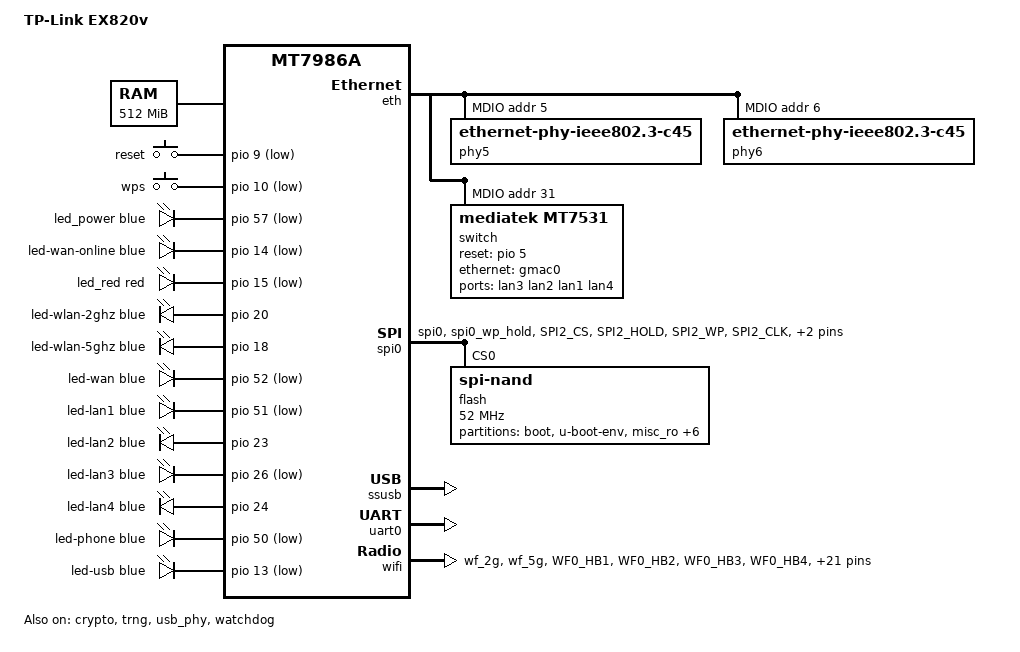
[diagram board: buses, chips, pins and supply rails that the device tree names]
// SPDX-License-Identifier: GPL-2.0-only OR MIT

/dts-v1/;

#include <dt-bindings/gpio/gpio.h>
#include <dt-bindings/input/input.h>
#include <dt-bindings/leds/common.h>
#include <dt-bindings/pinctrl/mt65xx.h>

#include "mt7986a.dtsi"

/ {
	compatible = "tplink,ex820v", "mediatek,mt7986a";
	model = "TP-Link EX820v";

	aliases {
		serial0 = &uart0;
		led-boot = &led_power;
		led-failsafe = &led_red;
		led-running = &led_power;
		led-upgrade = &led_red;
	};

	chosen {
		stdout-path = "serial0:115200n8";
	};

	memory@40000000 {
		reg = <0 0x40000000 0 0x20000000>;
		device_type = "memory";
	};

	keys {
		compatible = "gpio-keys";

		key-reset {
			label = "reset";
			gpios = <&pio 9 GPIO_ACTIVE_LOW>;
			linux,code = <KEY_RESTART>;
		};

		key-wps {
			label = "wps";
			gpios = <&pio 10 GPIO_ACTIVE_LOW>;
			linux,code = <KEY_WPS_BUTTON>;
		};
	};

	leds {
		compatible = "gpio-leds";

		led_power: led-power {
			color = <LED_COLOR_ID_BLUE>;
			function = LED_FUNCTION_POWER;
			gpios = <&pio 57 GPIO_ACTIVE_LOW>;
			default-state = "on";
		};

		led-wan-online {
			color = <LED_COLOR_ID_BLUE>;
			function = LED_FUNCTION_WAN_ONLINE;
			gpios = <&pio 14 GPIO_ACTIVE_LOW>;
		};

		led_red: led-red {
			color = <LED_COLOR_ID_RED>;
			function = LED_FUNCTION_STATUS;
			gpios = <&pio 15 GPIO_ACTIVE_LOW>;
			panic-indicator;
		};

		led-wlan-2ghz {
			color = <LED_COLOR_ID_BLUE>;
			function = LED_FUNCTION_WLAN_2GHZ;
			gpios = <&pio 20 GPIO_ACTIVE_HIGH>;
		};

		led-wlan-5ghz {
			color = <LED_COLOR_ID_BLUE>;
			function = LED_FUNCTION_WLAN_5GHZ;
			gpios = <&pio 18 GPIO_ACTIVE_HIGH>;
		};

		led-wan {
			color = <LED_COLOR_ID_BLUE>;
			function = LED_FUNCTION_WAN;
			gpios = <&pio 52 GPIO_ACTIVE_LOW>;
		};

		led-lan1 {
			color = <LED_COLOR_ID_BLUE>;
			function = LED_FUNCTION_LAN;
			function-enumerator = <1>;
			gpios = <&pio 51 GPIO_ACTIVE_LOW>;
		};

		led-lan2 {
			color = <LED_COLOR_ID_BLUE>;
			function = LED_FUNCTION_LAN;
			function-enumerator = <2>;
			gpios = <&pio 23 GPIO_ACTIVE_HIGH>;
		};

		led-lan3 {
			color = <LED_COLOR_ID_BLUE>;
			function = LED_FUNCTION_LAN;
			function-enumerator = <3>;
			gpios = <&pio 26 GPIO_ACTIVE_LOW>;
		};

		led-lan4 {
			color = <LED_COLOR_ID_BLUE>;
			function = LED_FUNCTION_LAN;
			function-enumerator = <4>;
			gpios = <&pio 24 GPIO_ACTIVE_HIGH>;
		};

		led-phone {
			color = <LED_COLOR_ID_BLUE>;
			function = "phone";
			gpios = <&pio 50 GPIO_ACTIVE_LOW>;
		};

		led-usb {
			color = <LED_COLOR_ID_BLUE>;
			function = LED_FUNCTION_USB;
			gpios = <&pio 13 GPIO_ACTIVE_LOW>;
		};
	};
};

&crypto {
	status = "okay";
};

&eth {
	status = "okay";

	gmac0: mac@0 {
		compatible = "mediatek,eth-mac";
		reg = <0>;
		phy-mode = "2500base-x";

		fixed-link {
			speed = <2500>;
			full-duplex;
			pause;
		};
	};

	/* WAN: 2.5G GPY211C */
	gmac1: mac@1 {
		compatible = "mediatek,eth-mac";
		reg = <1>;
		phy-mode = "2500base-x";
		phy-handle = <&phy6>;
	};

	mdio: mdio-bus {
		#address-cells = <1>;
		#size-cells = <0>;

		reset-gpios = <&pio 6 GPIO_ACTIVE_LOW>;
		reset-delay-us = <1500000>;
		reset-post-delay-us = <1000000>;

		phy5: ethernet-phy@5 {
			compatible = "ethernet-phy-ieee802.3-c45";
			reg = <5>;
		};

		phy6: ethernet-phy@6 {
			compatible = "ethernet-phy-ieee802.3-c45";
			reg = <6>;
		};

		switch: switch@1f {
			compatible = "mediatek,mt7531";
			reg = <31>;
			reset-gpios = <&pio 5 GPIO_ACTIVE_HIGH>;

			/*
			 * The stock firmware only uses switch ports 0-2 and
			 * port 5 (external 2.5G PHY); ports 3 and 4 are never
			 * added to the LAN bridge. Ports 0-2 are labeled in
			 * reverse order to match the case (port 2 is LAN1).
			 */
			ports {
				#address-cells = <1>;
				#size-cells = <0>;

				port@0 {
					reg = <0>;
					label = "lan3";
				};

				port@1 {
					reg = <1>;
					label = "lan2";
				};

				port@2 {
					reg = <2>;
					label = "lan1";
				};

				port@5 {
					reg = <5>;
					label = "lan4";
					phy-mode = "2500base-x";
					phy-handle = <&phy5>;
				};

				port@6 {
					reg = <6>;
					ethernet = <&gmac0>;
					phy-mode = "2500base-x";

					fixed-link {
						speed = <2500>;
						full-duplex;
						pause;
					};
				};
			};
		};
	};
};

&pio {
	spi_flash_pins: spi-flash-pins {
		mux {
			function = "spi";
			groups = "spi0", "spi0_wp_hold";
		};

		conf-pu {
			pins = "SPI2_CS", "SPI2_HOLD", "SPI2_WP";
			drive-strength = <MTK_DRIVE_8mA>;
			mediatek,pull-up-adv = <0>; /* bias-disable */
		};

		conf-pd {
			pins = "SPI2_CLK", "SPI2_MOSI", "SPI2_MISO";
			drive-strength = <MTK_DRIVE_8mA>;
			mediatek,pull-down-adv = <0>; /* bias-disable */
		};
	};

	wf_2g_5g_pins: wf-2g-5g-pins {
		mux {
			function = "wifi";
			groups = "wf_2g", "wf_5g";
		};

		conf {
			pins = "WF0_HB1", "WF0_HB2", "WF0_HB3", "WF0_HB4",
			       "WF0_HB0", "WF0_HB0_B", "WF0_HB5", "WF0_HB6",
			       "WF0_HB7", "WF0_HB8", "WF0_HB9", "WF0_HB10",
			       "WF0_TOP_CLK", "WF0_TOP_DATA", "WF1_HB1",
			       "WF1_HB2", "WF1_HB3", "WF1_HB4", "WF1_HB0",
			       "WF1_HB5", "WF1_HB6", "WF1_HB7", "WF1_HB8",
			       "WF1_TOP_CLK", "WF1_TOP_DATA";
			drive-strength = <MTK_DRIVE_4mA>;
		};
	};

	wf_dbdc_pins: wf-dbdc-pins {
		mux {
			function = "wifi";
			groups = "wf_dbdc";
		};

		conf {
			pins = "WF0_HB1", "WF0_HB2", "WF0_HB3", "WF0_HB4",
			       "WF0_HB0", "WF0_HB0_B", "WF0_HB5", "WF0_HB6",
			       "WF0_HB7", "WF0_HB8", "WF0_HB9", "WF0_HB10",
			       "WF0_TOP_CLK", "WF0_TOP_DATA", "WF1_HB1",
			       "WF1_HB2", "WF1_HB3", "WF1_HB4", "WF1_HB0",
			       "WF1_HB5", "WF1_HB6", "WF1_HB7", "WF1_HB8",
			       "WF1_TOP_CLK", "WF1_TOP_DATA";
			drive-strength = <MTK_DRIVE_4mA>;
		};
	};
};

&spi0 {
	pinctrl-names = "default";
	pinctrl-0 = <&spi_flash_pins>;
	status = "okay";

	flash@0 {
		compatible = "spi-nand";
		reg = <0>;
		#address-cells = <1>;
		#size-cells = <1>;

		spi-max-frequency = <52000000>;
		spi-tx-bus-width = <4>;
		spi-rx-bus-width = <4>;

		mediatek,nmbm;
		mediatek,bmt-max-ratio = <1>;
		mediatek,bmt-max-reserved-blocks = <64>;

		partitions {
			compatible = "fixed-partitions";
			#address-cells = <1>;
			#size-cells = <1>;

			partition@0 {
				label = "boot";
				reg = <0x0 0x200000>;
				read-only;
			};

			partition@200000 {
				label = "u-boot-env";
				reg = <0x200000 0x100000>;
			};

			partition@300000 {
				label = "misc_ro";
				reg = <0x300000 0x600000>;
				read-only;
			};

			partition@900000 {
				label = "misc_rw";
				reg = <0x900000 0x600000>;
			};

			partition@f00000 {
				label = "ubi0";
				reg = <0xf00000 0x2800000>;
			};

			partition@3700000 {
				label = "ubi1";
				reg = <0x3700000 0x2800000>;
			};

			partition@5f00000 {
				label = "misc_rw_bak";
				reg = <0x5f00000 0x600000>;
			};

			partition@6500000 {
				label = "bflag";
				reg = <0x6500000 0x600000>;
			};

			partition@6b00000 {
				label = "misc_isp";
				reg = <0x6b00000 0x600000>;
			};
		};
	};
};

&ssusb {
	status = "okay";
};

&trng {
	status = "okay";
};

&uart0 {
	status = "okay";
};

&usb_phy {
	status = "okay";
};

&watchdog {
	status = "okay";
};

&wifi {
	status = "okay";
	pinctrl-names = "default", "dbdc";
	pinctrl-0 = <&wf_2g_5g_pins>;
	pinctrl-1 = <&wf_dbdc_pins>;
};
